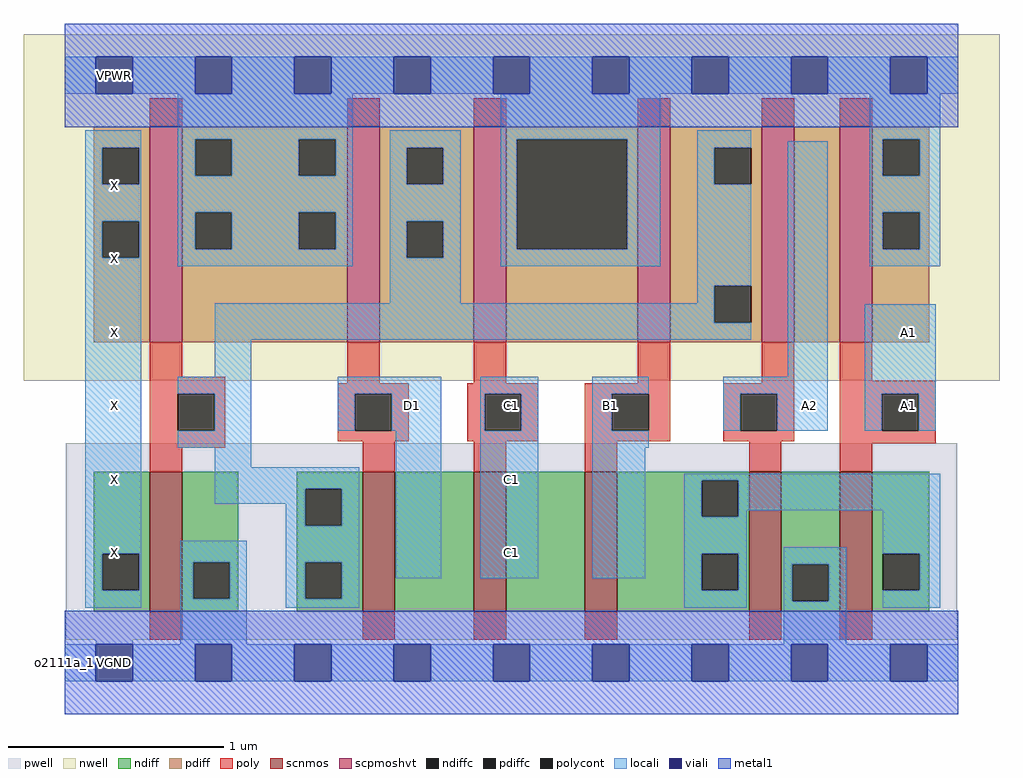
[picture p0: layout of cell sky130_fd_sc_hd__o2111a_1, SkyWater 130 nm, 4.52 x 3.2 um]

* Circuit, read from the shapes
.subckt sky130_fd_sc_hd__o2111a_1 VPWR VGND VPB VNB X D1 C1 B1 A2 A1
XM1 VGND n1 X VNB sky130_fd_pr__nfet_01v8 w=0.65 l=0.15
XM2 n2 D1 n1 VNB sky130_fd_pr__nfet_01v8 w=0.65 l=0.15
XM3 n3 C1 n2 VNB sky130_fd_pr__nfet_01v8 w=0.65 l=0.15
XM4 n4 B1 n3 VNB sky130_fd_pr__nfet_01v8 w=0.65 l=0.15
XM5 VGND A2 n4 VNB sky130_fd_pr__nfet_01v8 w=0.65 l=0.15
XM6 n4 A1 VGND VNB sky130_fd_pr__nfet_01v8 w=0.65 l=0.15
XM7 VPWR n1 X VPB sky130_fd_pr__pfet_01v8_hvt w=1 l=0.15
XM8 n1 D1 VPWR VPB sky130_fd_pr__pfet_01v8_hvt w=1 l=0.15
XM9 VPWR C1 n1 VPB sky130_fd_pr__pfet_01v8_hvt w=1 l=0.15
XM10 n1 B1 VPWR VPB sky130_fd_pr__pfet_01v8_hvt w=1 l=0.15
XM11 n5 A2 n1 VPB sky130_fd_pr__pfet_01v8_hvt w=1 l=0.15
XM12 VPWR A1 n5 VPB sky130_fd_pr__pfet_01v8_hvt w=1 l=0.15
.ends

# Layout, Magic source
magic
tech sky130B
magscale 1 2
<< nwell >>
rect -38 221 866 542
<< pwell >>
rect 1 -19 827 163
rect 29 -57 63 -19
<< scnmos >>
rect 79 7 109 137
rect 276 7 306 137
rect 379 7 409 137
rect 482 7 512 137
rect 634 7 664 137
rect 718 7 748 137
<< scpmoshvt >>
rect 79 257 109 457
rect 262 257 292 457
rect 379 257 409 457
rect 531 257 561 457
rect 646 257 676 457
rect 718 257 748 457
<< ndiff >>
rect 27 61 79 137
rect 27 27 35 61
rect 69 27 79 61
rect 27 7 79 27
rect 109 53 161 137
rect 109 19 119 53
rect 153 19 161 53
rect 109 7 161 19
rect 215 121 276 137
rect 215 87 223 121
rect 257 87 276 121
rect 215 53 276 87
rect 215 19 223 53
rect 257 19 276 53
rect 215 7 276 19
rect 306 7 379 137
rect 409 7 482 137
rect 512 129 634 137
rect 512 95 590 129
rect 624 95 634 129
rect 512 61 634 95
rect 512 27 590 61
rect 624 27 634 61
rect 512 7 634 27
rect 664 51 718 137
rect 664 17 674 51
rect 708 17 718 51
rect 664 7 718 17
rect 748 61 801 137
rect 748 27 758 61
rect 792 27 801 61
rect 748 7 801 27
<< pdiff >>
rect 27 437 79 457
rect 27 403 35 437
rect 69 403 79 437
rect 27 369 79 403
rect 27 335 35 369
rect 69 335 79 369
rect 27 257 79 335
rect 109 445 262 457
rect 109 411 121 445
rect 155 411 217 445
rect 251 411 262 445
rect 109 377 262 411
rect 109 343 121 377
rect 155 343 217 377
rect 251 343 262 377
rect 109 257 262 343
rect 292 437 379 457
rect 292 403 317 437
rect 351 403 379 437
rect 292 369 379 403
rect 292 335 317 369
rect 351 335 379 369
rect 292 257 379 335
rect 409 445 531 457
rect 409 343 419 445
rect 521 343 531 445
rect 409 257 531 343
rect 561 437 646 457
rect 561 403 602 437
rect 636 403 646 437
rect 561 309 646 403
rect 561 275 602 309
rect 636 275 646 309
rect 561 257 646 275
rect 676 257 718 457
rect 748 445 801 457
rect 748 411 758 445
rect 792 411 801 445
rect 748 377 801 411
rect 748 343 758 377
rect 792 343 801 377
rect 748 257 801 343
<< ndiffc >>
rect 35 27 69 61
rect 119 19 153 53
rect 223 87 257 121
rect 223 19 257 53
rect 590 95 624 129
rect 590 27 624 61
rect 674 17 708 51
rect 758 27 792 61
<< pdiffc >>
rect 35 403 69 437
rect 35 335 69 369
rect 121 411 155 445
rect 217 411 251 445
rect 121 343 155 377
rect 217 343 251 377
rect 317 403 351 437
rect 317 335 351 369
rect 419 343 521 445
rect 602 403 636 437
rect 602 275 636 309
rect 758 411 792 445
rect 758 343 792 377
<< poly >>
rect 79 457 109 483
rect 262 457 292 483
rect 379 457 409 483
rect 531 457 561 483
rect 646 457 676 483
rect 718 457 748 483
rect 79 225 109 257
rect 79 209 149 225
rect 262 219 292 257
rect 379 219 409 257
rect 531 219 561 257
rect 646 219 676 257
rect 79 175 105 209
rect 139 175 149 209
rect 79 159 149 175
rect 253 209 319 219
rect 253 175 269 209
rect 303 175 319 209
rect 253 165 319 175
rect 373 209 439 219
rect 373 175 389 209
rect 423 175 439 209
rect 373 165 439 175
rect 482 209 561 219
rect 482 175 507 209
rect 541 175 561 209
rect 482 165 561 175
rect 610 209 676 219
rect 610 175 626 209
rect 660 175 676 209
rect 610 165 676 175
rect 718 221 748 257
rect 718 209 807 221
rect 718 175 757 209
rect 791 175 807 209
rect 79 137 109 159
rect 276 137 306 165
rect 379 137 409 165
rect 482 137 512 165
rect 634 137 664 165
rect 718 163 807 175
rect 718 137 748 163
rect 79 -19 109 7
rect 276 -19 306 7
rect 379 -19 409 7
rect 482 -19 512 7
rect 634 -19 664 7
rect 718 -19 748 7
<< polycont >>
rect 105 175 139 209
rect 269 175 303 209
rect 389 175 423 209
rect 507 175 541 209
rect 626 175 660 209
rect 757 175 791 209
<< locali >>
rect 0 487 29 521
rect 63 487 121 521
rect 155 487 213 521
rect 247 487 305 521
rect 339 487 397 521
rect 431 487 489 521
rect 523 487 581 521
rect 615 487 673 521
rect 707 487 765 521
rect 799 487 828 521
rect 19 437 71 453
rect 19 403 35 437
rect 69 403 71 437
rect 19 369 71 403
rect 19 335 35 369
rect 69 335 71 369
rect 19 61 71 335
rect 105 445 267 487
rect 105 411 121 445
rect 155 411 217 445
rect 251 411 267 445
rect 105 377 267 411
rect 105 343 121 377
rect 155 343 217 377
rect 251 343 267 377
rect 105 327 267 343
rect 301 437 367 453
rect 301 403 317 437
rect 351 403 367 437
rect 301 369 367 403
rect 301 335 317 369
rect 351 335 367 369
rect 301 293 367 335
rect 404 445 552 487
rect 404 343 419 445
rect 521 343 552 445
rect 404 327 552 343
rect 586 437 636 453
rect 746 445 811 487
rect 586 403 602 437
rect 586 309 636 403
rect 586 293 602 309
rect 139 275 602 293
rect 139 259 636 275
rect 139 225 173 259
rect 670 225 707 443
rect 746 411 758 445
rect 792 411 811 445
rect 746 377 811 411
rect 746 343 758 377
rect 792 343 811 377
rect 746 327 811 343
rect 105 209 173 225
rect 139 175 173 209
rect 253 209 349 225
rect 253 175 269 209
rect 303 175 349 209
rect 105 159 173 175
rect 139 141 173 159
rect 139 121 273 141
rect 139 107 223 121
rect 205 87 223 107
rect 257 87 273 121
rect 19 27 35 61
rect 69 27 71 61
rect 19 11 71 27
rect 107 53 169 73
rect 107 19 119 53
rect 153 19 169 53
rect 107 -23 169 19
rect 205 53 273 87
rect 205 19 223 53
rect 257 19 273 53
rect 307 38 349 175
rect 385 209 439 225
rect 385 175 389 209
rect 423 175 439 209
rect 385 38 439 175
rect 489 209 541 225
rect 489 175 507 209
rect 610 209 707 225
rect 610 175 626 209
rect 660 175 707 209
rect 741 209 807 292
rect 741 175 757 209
rect 791 175 807 209
rect 489 159 541 175
rect 489 38 538 159
rect 574 129 811 135
rect 574 95 590 129
rect 624 101 811 129
rect 624 95 632 101
rect 574 61 632 95
rect 205 11 273 19
rect 574 27 590 61
rect 624 27 632 61
rect 574 11 632 27
rect 666 51 724 67
rect 666 17 674 51
rect 708 17 724 51
rect 666 -23 724 17
rect 758 61 811 101
rect 792 27 811 61
rect 758 11 811 27
rect 0 -57 29 -23
rect 63 -57 121 -23
rect 155 -57 213 -23
rect 247 -57 305 -23
rect 339 -57 397 -23
rect 431 -57 489 -23
rect 523 -57 581 -23
rect 615 -57 673 -23
rect 707 -57 765 -23
rect 799 -57 828 -23
<< viali >>
rect 29 487 63 521
rect 121 487 155 521
rect 213 487 247 521
rect 305 487 339 521
rect 397 487 431 521
rect 489 487 523 521
rect 581 487 615 521
rect 673 487 707 521
rect 765 487 799 521
rect 29 -57 63 -23
rect 121 -57 155 -23
rect 213 -57 247 -23
rect 305 -57 339 -23
rect 397 -57 431 -23
rect 489 -57 523 -23
rect 581 -57 615 -23
rect 673 -57 707 -23
rect 765 -57 799 -23
<< metal1 >>
rect 0 521 828 552
rect 0 487 29 521
rect 63 487 121 521
rect 155 487 213 521
rect 247 487 305 521
rect 339 487 397 521
rect 431 487 489 521
rect 523 487 581 521
rect 615 487 673 521
rect 707 487 765 521
rect 799 487 828 521
rect 0 456 828 487
rect 0 -23 828 8
rect 0 -57 29 -23
rect 63 -57 121 -23
rect 155 -57 213 -23
rect 247 -57 305 -23
rect 339 -57 397 -23
rect 431 -57 489 -23
rect 523 -57 581 -23
rect 615 -57 673 -23
rect 707 -57 765 -23
rect 799 -57 828 -23
rect 0 -88 828 -57
<< labels >>
rlabel comment s 0 -40 0 -40 4 o2111a_1
flabel metal1 s 29 487 63 521 0 FreeSans 200 0 0 0 VPWR
port 2 nsew
flabel metal1 s 29 -57 63 -23 0 FreeSans 200 0 0 0 VGND
port 3 nsew
flabel nwell s 29 487 63 521 0 FreeSans 200 0 0 0 VPB
port 5 nsew
flabel pwell s 29 -57 63 -23 0 FreeSans 200 0 0 0 VNB
port 6 nsew
flabel locali s 29 385 63 419 0 FreeSans 400 0 0 0 X
port 8 nsew
flabel locali s 29 317 63 351 0 FreeSans 400 0 0 0 X
port 8 nsew
flabel locali s 29 181 63 215 0 FreeSans 400 0 0 0 X
port 8 nsew
flabel locali s 29 113 63 147 0 FreeSans 400 0 0 0 X
port 8 nsew
flabel locali s 29 45 63 79 0 FreeSans 400 0 0 0 X
port 8 nsew
flabel locali s 305 181 339 215 0 FreeSans 400 0 0 0 D1
port 9 nsew
flabel locali s 397 181 431 215 0 FreeSans 400 0 0 0 C1
port 10 nsew
flabel locali s 397 113 431 147 0 FreeSans 400 0 0 0 C1
port 10 nsew
flabel locali s 397 45 431 79 0 FreeSans 400 0 0 0 C1
port 10 nsew
flabel locali s 489 181 523 215 0 FreeSans 400 0 0 0 B1
port 11 nsew
flabel locali s 673 181 707 215 0 FreeSans 400 0 0 0 A2
port 12 nsew
flabel locali s 765 249 799 283 0 FreeSans 400 0 0 0 A1
port 13 nsew
flabel locali s 765 181 799 215 0 FreeSans 400 0 0 0 A1
port 13 nsew
flabel locali s 29 249 63 283 0 FreeSans 400 0 0 0 X
port 8 nsew
<< properties >>
string FIXED_BBOX 0 -40 828 504
string path 0.000 -1.000 20.700 -1.000 
<< end >>
